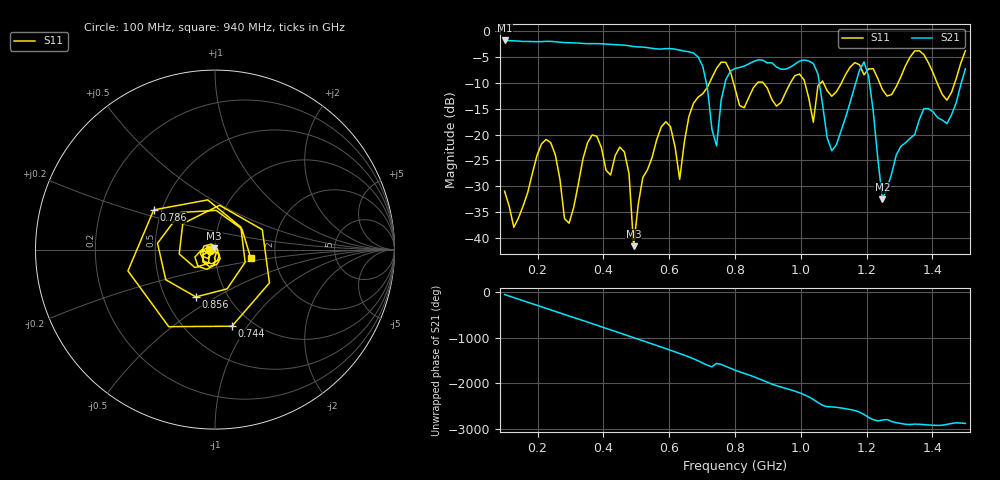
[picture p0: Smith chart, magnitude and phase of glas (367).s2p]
! NanoVNA-App
! Date: 2025-09-25 15:58:20
! Start: 100MHz Stop: 1,5GHz Points: 101
! S-Parameter data: F S11 S21 S12 S22
# Hz S RI R 50
!  Frequency  S11_Real  S11_Imag  S21_Real  S21_Imag  S12_Real  S12_Imag  S22_Real  S22_Imag
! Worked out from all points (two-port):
!   101 points, 100 MHz to 1.5 GHz, reference 50 ohm
!   highest |S21| = -1.80 dB at 100 MHz (marker M1); lowest = -32.5 dB at 1.248 GHz (marker M2)
!   |S21| within 3 dB of the highest: start of sweep to 684.5 MHz
!   lowest |S11| = -41.6 dB at 492 MHz (marker M3), VSWR 1.02, Z = 49.5 + j0.646 ohm
!   |S11| at or under -10 dB: start of sweep to 722.5 MHz; 795.4 MHz to 868.1 MHz (72.64 MHz wide, 8.73 % of centre); 885.9 MHz to 968.3 MHz (82.32 MHz wide, 8.88 % of centre) (the widest 3 of 7)
!   S12 and S22 are empty: the file has one direction only
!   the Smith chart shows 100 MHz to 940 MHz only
!   S11 on the Smith chart (normalised r, x): 100 MHz: 0.95, -0.01; 744 MHz: 0.81, -0.85; 786 MHz: 0.45, +0.24; 856 MHz: 0.71, -0.41; 940 MHz: 1.49, -0.15
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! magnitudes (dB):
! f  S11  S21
! 100 MHz  -30.9  -1.8
! 128 MHz  -37.9  -1.9
! 226 MHz  -20.9  -2.0
! 296 MHz  -37.1  -2.2
! 338 MHz  -24.7  -2.4
! 464 MHz  -23.4  -2.7
! 492 MHz  -41.6  -3.0
! 576 MHz  -18.5  -3.5
! 632 MHz  -28.6  -3.7
! 702 MHz  -12.1  -6.8
! 744 MHz  -7.2  -22.2
! 786 MHz  -7.8  -7.7
! 800 MHz  -11.1  -7.2
! 856 MHz  -10.9  -5.9
! 940 MHz  -13.8  -7.4
! 996 MHz  -8.3  -5.8
! 1.038 GHz  -17.6  -6.3
! 1.094 GHz  -12.6  -23.1
! 1.192 GHz  -8.4  -5.9
! 1.248 GHz  -11.3  -32.5
! 1.276 GHz  -12.3  -27.5
! 1.5 GHz  -3.8  -7.3
